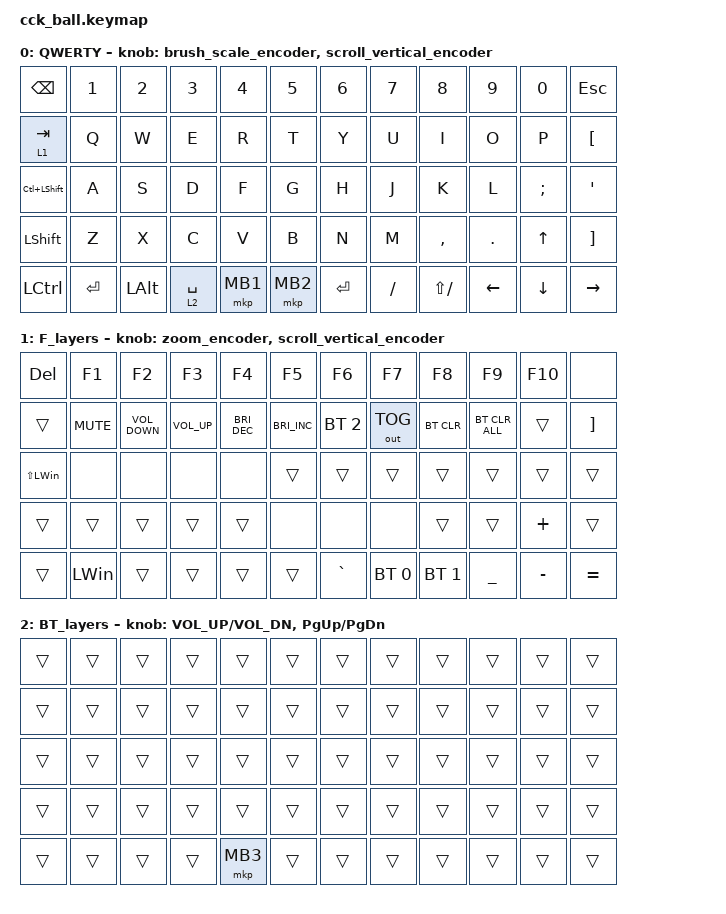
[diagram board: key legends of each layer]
#include <input/processors.dtsi>
#include <zephyr/dt-bindings/input/input-event-codes.h>
#include <behaviors.dtsi>
#include <dt-bindings/zmk/bt.h>
#include <dt-bindings/zmk/keys.h>
#include <dt-bindings/zmk/outputs.h>
#include <dt-bindings/zmk/pointing.h>

&mmv_input_listener { input-processors = <&zip_xy_scaler 2 1>; };

&msc_input_listener { input-processors = <&zip_scroll_scaler 2 1>; };

&msc {
    acceleration-exponent = <0>;      // 0
    time-to-max-speed-ms = <300>;       // 300
    delay-ms = <0>;                   // 0
};

&mmv {
    time-to-max-speed-ms = <500>;
    acceleration-exponent = <1>;
    trigger-period-ms = <16>;
};

&soft_off { hold-time-ms = <2000>; };

/* Override the default layer-tap behavior */

&lt {
    /* 400ms is a safe starting point. Default is 200ms */

    tapping-term-ms = <300>;

    /* Optional: Improves fast typing. If you tap, then press-hold quickly, 
       it sends the key again instead of the layer. */

    quick-tap-ms = <250>;
};

/ {
    // 上下滚动编码器行为

    macros {
        // Types a dot using Alt + 46
        // Types a comma using Alt + 44
    };

    brush_scale_encoder: brush_scale_encoder {
        compatible = "zmk,behavior-sensor-rotate";
        #sensor-binding-cells = <0>;
        bindings = <&kp LBKT>, <&kp RBKT>;

        tap-ms = <30>;
    };

    zoom_encoder: zoom_encoder {
        compatible = "zmk,behavior-sensor-rotate";
        #sensor-binding-cells = <0>;
        bindings = <&kp LC(KP_PLUS)>, <&kp LC(KP_MINUS)>;

        tap-ms = <30>;
    };

    // 左右滚动编码器行为

    scroll_vertical_encoder: scroll_vertical_encoder {
        compatible = "zmk,behavior-sensor-rotate";
        #sensor-binding-cells = <0>;
        bindings = <&msc MOVE_Y(400)>, <&msc MOVE_Y(-400)>;

        tap-ms = <30>;
    };

    behaviors {
    };

    keymap {
        compatible = "zmk,keymap";

        QWERTY {
            bindings = <
&kp BACKSPACE       &kp N1     &kp N2        &kp N3       &kp N4    &kp N5    &kp N6     &kp N7     &kp N8         &kp N9          &kp N0          &kp ESC
&lt 1 TAB           &kp Q      &kp W         &kp E        &kp R     &kp T     &kp Y      &kp U      &kp I          &kp O           &kp P           &kp LEFT_BRACKET
&kp LC(LEFT_SHIFT)  &kp A      &kp S         &kp D        &kp F     &kp G     &kp H      &kp J      &kp K          &kp L           &kp SEMI        &kp SQT
&kp LEFT_SHIFT      &kp Z      &kp X         &kp C        &kp V     &kp B     &kp N      &kp M      &kp COMMA      &kp DOT         &kp UP_ARROW    &kp RIGHT_BRACKET
&kp LEFT_CONTROL    &kp ENTER  &kp LEFT_ALT  &lt 2 SPACE  &mkp MB1  &mkp MB2  &kp ENTER  &kp SLASH  &kp LS(SLASH)  &kp LEFT_ARROW  &kp DOWN_ARROW  &kp RIGHT_ARROW
            >;

            sensor-bindings =
                <&brush_scale_encoder>,
                <&scroll_vertical_encoder>;
        };

        F_layers {
            bindings = <
&kp DELETE        &kp F1        &kp F2             &kp F3           &kp F4                &kp F5                &kp F6        &kp F7        &kp F8        &kp F9          &kp F10    &none
&trans            &kp C_MUTE    &kp C_VOLUME_DOWN  &kp C_VOLUME_UP  &kp C_BRIGHTNESS_DEC  &kp C_BRIGHTNESS_INC  &bt BT_SEL 2  &out OUT_TOG  &bt BT_CLR    &bt BT_CLR_ALL  &trans     &kp RIGHT_BRACKET
&kp LS(LEFT_WIN)  &none         &none              &none            &none                 &trans                &trans        &trans        &trans        &trans          &trans     &trans
&trans            &trans        &trans             &trans           &trans                &none                 &none         &none         &trans        &trans          &kp PLUS   &trans
&trans            &kp LEFT_WIN  &trans             &trans           &trans                &trans                &kp GRAVE     &bt BT_SEL 0  &bt BT_SEL 1  &kp UNDERSCORE  &kp MINUS  &kp EQUAL
            >;

            sensor-bindings = <&zoom_encoder>, <&scroll_vertical_encoder>;
        };

        BT_layers {
            bindings = <
&trans  &trans  &trans  &trans  &trans    &trans  &trans  &trans  &trans  &trans  &trans  &trans
&trans  &trans  &trans  &trans  &trans    &trans  &trans  &trans  &trans  &trans  &trans  &trans
&trans  &trans  &trans  &trans  &trans    &trans  &trans  &trans  &trans  &trans  &trans  &trans
&trans  &trans  &trans  &trans  &trans    &trans  &trans  &trans  &trans  &trans  &trans  &trans
&trans  &trans  &trans  &trans  &mkp MB3  &trans  &trans  &trans  &trans  &trans  &trans  &trans
            >;

            sensor-bindings = <&inc_dec_kp C_VOL_UP C_VOL_DN &inc_dec_kp PG_UP PG_DN>;
        };
    };
};
